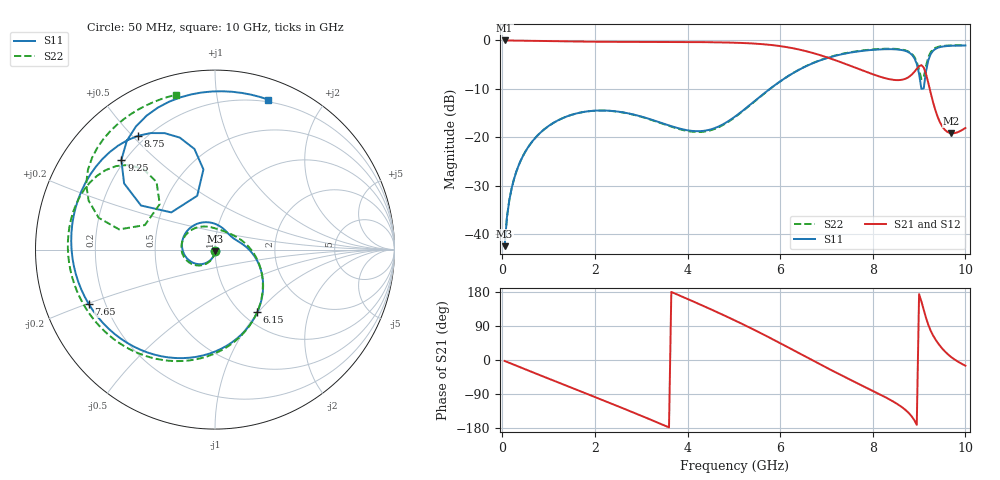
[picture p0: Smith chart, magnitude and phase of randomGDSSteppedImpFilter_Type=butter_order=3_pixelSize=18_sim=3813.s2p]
! freq	dB(S11)	phase(S11)	dB(S12)	phase(S12)
!  dB(S21)	phase(S21)	dB(S22)	phase(S22)
!S-par simulation data
#  GHz  S  DB  R 50
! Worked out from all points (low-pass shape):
!   200 points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, 50 MHz to 10 GHz, reference 50 ohm
!   highest |S21| = -0.01 dB at 50 MHz (marker M1); lowest = -19.2 dB at 9.7 GHz (marker M2)
!   |S21| within 3 dB of the highest: start of sweep to 6.852 GHz
!   lowest |S11| = -42.5 dB at 50 MHz (marker M3), VSWR 1.02, Z = 50 - j0.747 ohm
!   |S11| at or under -10 dB: start of sweep to 5.781 GHz; 9.049816 GHz to 9.055303 GHz (5.487 MHz wide, 0.0606 % of centre)
!   |S22| runs from -42.5 to -1.0 dB; largest |S21 - S12| = 0
!   S11 on the Smith chart (normalised r, x): 50 MHz: 1.00, -0.01; 6.15 GHz: 1.16, -0.99; 7.65 GHz: 0.14, -0.20; 8.75 GHz: 0.17, +0.52; 9.25 GHz: 0.19, +0.39; 10 GHz: 0.18, +1.40
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0.05  -42.53 -91.1  -0.01 -2.5  -0.01 -2.5  -42.53 -90.9
0.2  -30.66 -100.3  -0.02 -9.9  -0.02 -9.9  -30.65 -99.3
0.5  -22.96 -116.5  -0.06 -24.7  -0.06 -24.7  -22.96 -113.9
1.15  -16.79 -150.3  -0.16 -56.5  -0.16 -56.5  -16.79 -144.2
1.75  -14.79 178.6  -0.25 -85.6  -0.25 -85.6  -14.80 -171.5
2.55  -14.78 136.0  -0.30 -124.6  -0.30 -124.6  -14.81 152.7
3.4  -16.94 88.6  -0.30 -167.5  -0.30 -167.5  -17.02 114.2
4.2  -18.76 45.7  -0.34 150.4  -0.34 150.4  -18.93 72.2
5.05  -15.57 7.5  -0.48 102.8  -0.48 102.8  -15.68 15.3
5.6  -11.36 -21.7  -0.76 69.7  -0.76 69.7  -11.40 -20.9
6.15  -7.51 -56.0  -1.39 34.7  -1.39 34.7  -7.51 -56.2
6.7  -4.73 -93.0  -2.58 -1.0  -2.58 -1.0  -4.69 -90.9
7.15  -3.27 -123.4  -3.95 -29.6  -3.95 -29.6  -3.21 -118.2
7.65  -2.32 -156.7  -5.73 -60.2  -5.73 -60.2  -2.24 -146.9
8.35  -1.80 156.1  -8.00 -103.3  -8.00 -103.3  -1.71 173.9
8.75  -2.33 124.0  -7.72 -136.6  -7.72 -136.6  -2.21 148.0
9  -6.91 98.2  -5.33 173.8  -5.33 173.8  -6.05 130.9
9.1  -9.90 139.6  -5.60 132.6  -5.60 132.6  -7.66 160.7
9.25  -2.82 136.2  -10.82 77.5  -10.82 77.5  -2.44 158.8
9.45  -1.38 111.9  -16.90 37.7  -16.90 37.7  -1.24 139.0
9.7  -1.10 91.1  -19.20 7.2  -19.20 7.2  -1.03 121.7
10  -1.04 70.4  -18.11 -15.0  -18.11 -15.0  -1.02 104.2
